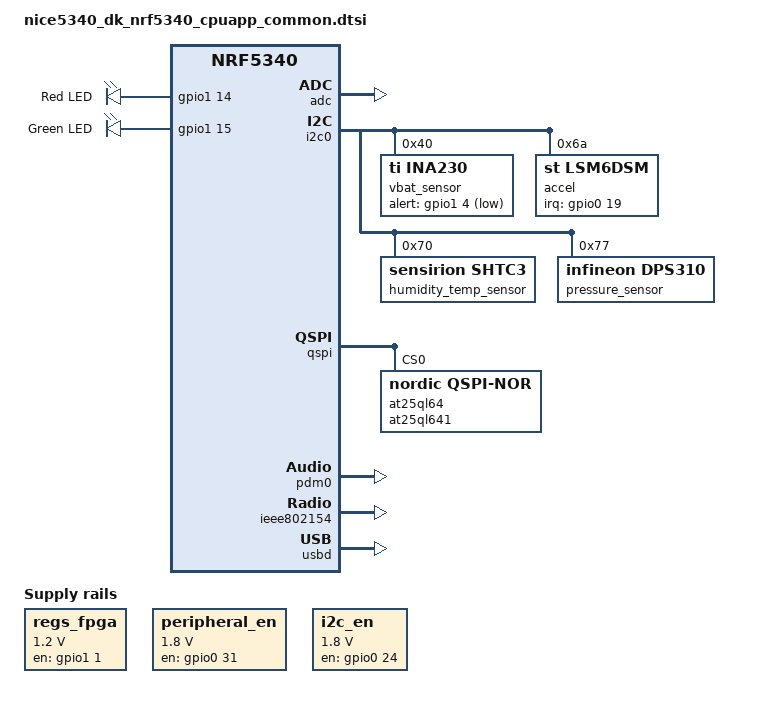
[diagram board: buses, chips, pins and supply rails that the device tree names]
/*
 * Copyright (c) 2019-2020 Nordic Semiconductor ASA
 *
 * SPDX-License-Identifier: Apache-2.0
 */
#include "nice5340_dk_nrf5340_cpuapp_common-pinctrl.dtsi"
#include <zephyr/dt-bindings/input/input-event-codes.h>

/ {

	chosen {
		zephyr,console = &cdc_acm_console;
		zephyr,shell-uart = &cdc_acm_console;
		zephyr,bt-hci-ipc = &ipc0;
		nordic,802154-spinel-ipc = &ipc0;
		zephyr,ieee802154 = &ieee802154;
	};

	leds {
		compatible = "gpio-leds";
		led0: led_0 {
			gpios = <&gpio1 14 GPIO_ACTIVE_HIGH>;
			label = "Red LED";
		};
		led1: led_1 {
			gpios = <&gpio1 15 GPIO_ACTIVE_HIGH>;
			label = "Green LED";
		};
	};

	gpio_fwd: nrf-gpio-forwarder {
		compatible = "nordic,nrf-gpio-forwarder";
		status = "okay";
		uart {
			gpios = <&gpio1 1 0>, <&gpio1 0 0>, <&gpio0 11 0>, <&gpio0 10 0>;
		};
	};

	/* These aliases are provided for compatibility with samples */
	aliases {
		led0 = &led0;
		led1 = &led1;
		bootloader-led0 = &led0;
		mcuboot-led0 = &led0;
		watchdog0 = &wdt0;
		spi-flash0 = &at25ql64;
	};

	regs_fpga: regs_fpga {
		compatible = "regulator-fixed";
		regulator-name = "fpga";
		regulator-min-microvolt = <1200000>;
		regulator-max-microvolt = <1200000>;
		enable-gpios = <&gpio1 1 GPIO_ACTIVE_HIGH>;
		regulator-boot-on;
	};

	peripheral_en: peripheral_en {
		compatible = "regulator-fixed";
		regulator-name = "peripheral_en";
		regulator-min-microvolt = <1800000>;
		regulator-max-microvolt = <1800000>;
		enable-gpios = <&gpio0 31 GPIO_ACTIVE_HIGH>;
		regulator-boot-on;
	};

	i2c_en: i2c_en {
		compatible = "regulator-fixed";
		regulator-name = "i2c_en";
		regulator-min-microvolt = <1800000>;
		regulator-max-microvolt = <1800000>;
		enable-gpios = <&gpio0 24 GPIO_ACTIVE_HIGH>;
		regulator-boot-on;
	};
};

&adc {
	status = "okay";
};

&gpiote {
	status = "okay";
};

&gpio0 {
	status = "okay";
};

&gpio1 {
	status = "okay";
};

&i2c0 {
	compatible = "nordic,nrf-twim";
	status = "okay";
	pinctrl-0 = <&i2c0_default>;
	pinctrl-1 = <&i2c0_sleep>;
	pinctrl-names = "default", "sleep";

	vbat_sensor: ina231@40 {
		compatible = "ti,ina230";
		reg = <0x40>;
		adc-mode = "Bus and shunt voltage continuous";
		vbus-conversion-time-us = <4156>;
		vshunt-conversion-time-us = <4156>;
		avg-count = <1024>;
		current-lsb-microamps = <1>;
		rshunt-micro-ohms = <100000>;
		alert-gpios = <&gpio1 4 (GPIO_ACTIVE_LOW | GPIO_PULL_UP)>;
	};

	accel: lsm6dsm@6a {
		compatible = "st,lsm6dsm", "st,lsm6dsl";
		reg = <0x6a>;
		irq-gpios = <&gpio0 19 GPIO_ACTIVE_HIGH>;
	};

	humidity_temp_sensor: shtc3@70 {
		compatible = "sensirion,shtc3";
		reg = <0x70>;
		measure-mode = "normal";
	};

	pressure_sensor: dps310@77 {
		compatible = "infineon,dps310";
		reg = <0x77>;
	};
};

&qspi {
	status = "okay";
	pinctrl-0 = <&qspi_default>;
	pinctrl-1 = <&qspi_sleep>;
	pinctrl-names = "default", "sleep";
	at25ql64: at25ql641@0 {
		compatible = "nordic,qspi-nor";
		reg = <0>;
		writeoc = "pp4io";
		readoc = "read4io";
		sck-frequency = <8000000>;
		jedec-id = [c2 28 17];
		sfdp-bfp = [
			e5 20 f1 ff  ff ff ff 03  44 eb 08 6b  08 3b 04 bb
			ee ff ff ff  ff ff 00 ff  ff ff 00 ff  0c 20 0f 52
			10 d8 00 ff  23 72 f5 00  82 ed 04 cc  44 83 68 44
			30 b0 30 b0  f7 c4 d5 5c  00 be 29 ff  f0 d0 ff ff
		];
		size = <DT_SIZE_M(64)>;
		has-dpd;
		t-enter-dpd = <10000>;
		t-exit-dpd = <35000>;
	};
	// iCE40 is also on QSPI pins, unsure of ability to handle.
};

dmic_dev: &pdm0 {
	status = "okay";
	pinctrl-0 = <&pdm0_default>;
	pinctrl-1 = <&pdm0_sleep>;
	pinctrl-names = "default", "sleep";
	clock-source = "PCLK32M_HFXO";
};

&flash0 {

	partitions {
		compatible = "fixed-partitions";
		#address-cells = <1>;
		#size-cells = <1>;

		boot_partition: partition@0 {
			label = "mcuboot";
			reg = <0x00000000 0x00010000>;
		};
		slot0_partition: partition@10000 {
			label = "image-0";
		};
		slot0_ns_partition: partition@50000 {
			label = "image-0-nonsecure";
		};
		slot1_partition: partition@80000 {
			label = "image-1";
		};
		slot1_ns_partition: partition@c0000 {
			label = "image-1-nonsecure";
		};
		/* 0xf0000 to 0xf7fff reserved for TF-M partitions */
		storage_partition: partition@f8000 {
			label = "storage";
			reg = <0x000f8000 0x00008000>;
		};
	};
};

&ieee802154 {
	status = "okay";
};

zephyr_udc0: &usbd {
	compatible = "nordic,nrf-usbd";
	status = "okay";
	cdc_acm_console: cdc_acm_console {
		compatible = "zephyr,cdc-acm-uart";
	};
};

/ {

	reserved-memory {
		#address-cells = <1>;
		#size-cells = <1>;
		ranges;

		sram0_image: image@20000000 {
			/* Zephyr image(s) memory */
		};

		sram0_s: image_s@20000000 {
			/* Secure image memory */
		};

		sram0_ns: image_ns@20040000 {
			/* Non-Secure image memory */
		};
	};
};

/* Include partition configuration file */
#include "nice5340_dk_nrf5340_cpuapp_partition_conf.dtsi"
